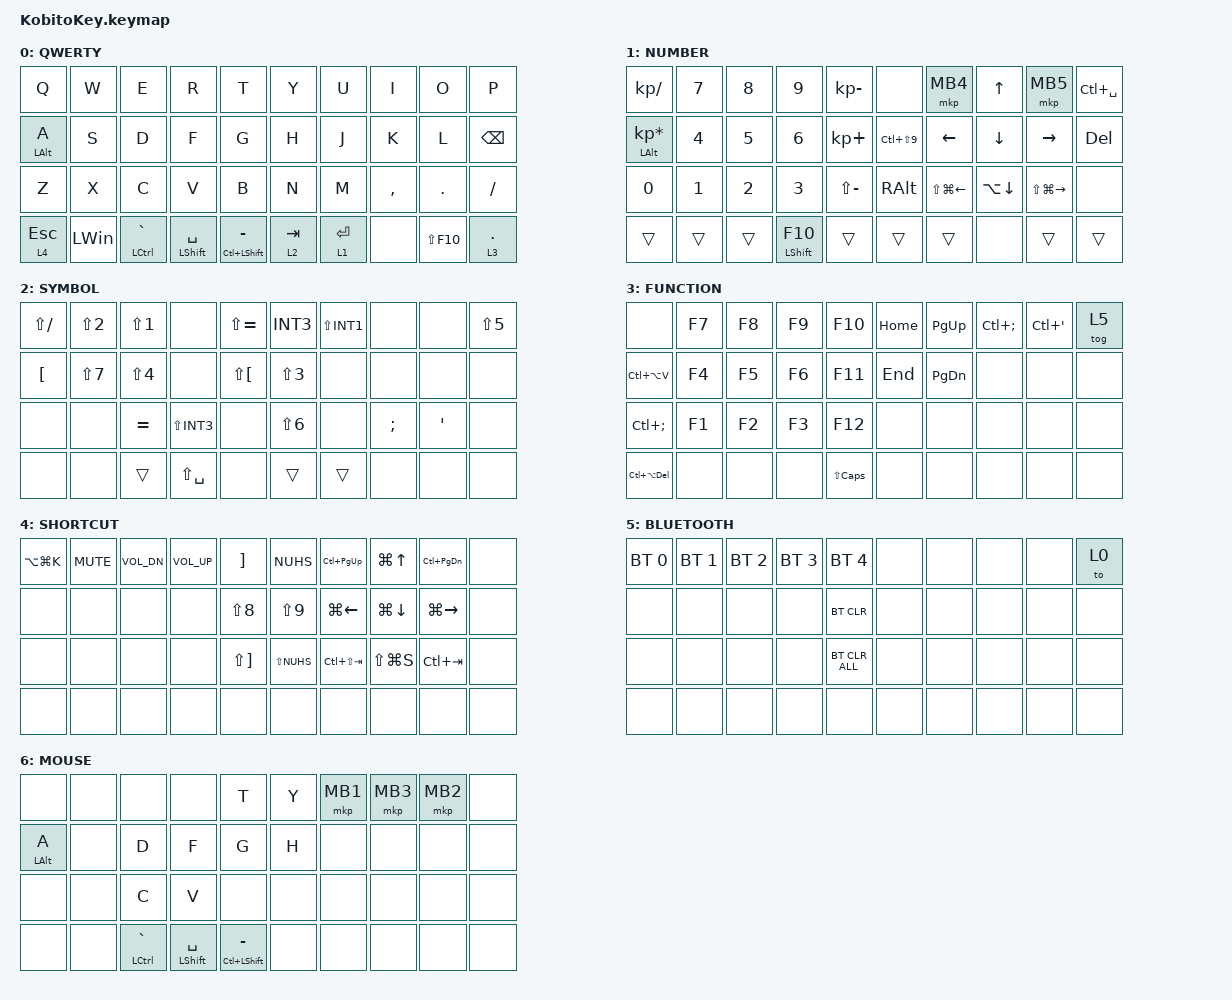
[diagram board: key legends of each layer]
#include <input/processors.dtsi>
#include <behaviors.dtsi>
#include <behaviors/runtime_macro.dtsi>
#include <dt-bindings/zmk/bt.h>
#include <dt-bindings/zmk/keys.h>
#include <dt-bindings/zmk/pointing.h>

&mt {
    flavor = "hold-preferred";
    tapping-term-ms = <220>;
    quick-tap-ms = <120>;
};

&lt {
    flavor = "hold-preferred";
    tapping-term-ms = <220>;
    quick-tap-ms = <120>;
};

/ {
    behaviors {
        alttab: alt_tab {
            compatible = "kobito,alt-tab";
            display-name = "Alt+Tab switcher";
            #binding-cells = <0>;
        };
    };

    // Defaults are seeded into editable runtime macro slots on first boot.
    // On a fresh settings store: my_kakko = slot 0, my_kagi = slot 1.
    runtime_macro_defaults {
        my_kakko {
            compatible = "cormoran,runtime-macro-default";
            macro-name = "my_kakko";
            bindings = <&kp LS(N8)>, <&macro_wait_time 15>, <&kp LS(N9)>;
        };

        my_kagi {
            compatible = "cormoran,runtime-macro-default";
            macro-name = "my_kagi";
            bindings = <&kp RIGHT_BRACKET>, <&macro_wait_time 15>, <&kp NUHS>;
        };
    };

    runtime_combo_defaults {
        compatible = "cormoran,runtime-combo-defaults";

        PASTE_VALUE {
            slot = <0>;
            display-name = "PASTE_VALUE";
            bindings = <&kp LS(LC(V))>;
            key-positions = <22 23>;
            layers = <0>;
            timeout-ms = <80>;
        };

        KAKKO {
            slot = <1>;
            display-name = "KAKKO";
            bindings = <&rmacro 0>;
            key-positions = <14 15>;
            layers = <0>;
            timeout-ms = <80>;
        };

        KAGIKAKKO {
            slot = <2>;
            display-name = "KAGIKAKKO";
            bindings = <&rmacro 1>;
            key-positions = <4 5>;
            layers = <0>;
            timeout-ms = <80>;
        };

        CMB_ALTTAB {
            slot = <3>;
            display-name = "CMB_ALTTAB";
            bindings = <&alttab>;
            key-positions = <12 13>;
            layers = <0>;
            timeout-ms = <80>;
            slow-release;
        };
    };

    keymap {
        compatible = "zmk,keymap";

        default_layer {
            label = "QWERTY";
            bindings = <
&kp Q      &kp W     &kp E     &kp R        &kp T      &kp Y     &kp U        &kp I      &kp O      &kp P
&mt LALT A &kp S     &kp D     &kp F        &kp G      &kp H     &kp J        &kp K      &kp L      &kp BSPC
&kp Z      &kp X     &kp C     &kp V        &kp B      &kp N     &kp M        &kp COMMA  &kp DOT    &kp SLASH
&lt 4 ESC  &kp LWIN  &mt LCTRL GRAVE  &mt LSHIFT SPACE  &mt LC(LSHIFT) MINUS  &lt 2 TAB  &lt 1 ENTER  &none  &kp LS(F10)  &lt 3 DOT
            >;
        };

        layer1 {
            label = "NUMBER";
            bindings = <
&kp KP_SLASH     &kp N7  &kp N8  &kp N9          &kp KP_MINUS   &none           &mkp MB4          &kp UP        &mkp MB5           &kp LC(SPACE)
&mt LALT KP_ASTERISK  &kp N4  &kp N5  &kp N6     &kp KP_PLUS    &kp LC(LS(N9))  &kp LEFT          &kp DOWN      &kp RIGHT          &kp DEL
&kp N0           &kp N1  &kp N2  &kp N3          &kp LS(MINUS)  &kp RALT        &kp LS(LG(LEFT))  &kp LA(DOWN)  &kp LS(LG(RIGHT))  &none
&trans           &trans  &trans  &mt LSHIFT F10  &trans         &trans          &trans            &none         &trans             &trans
            >;
        };

        layer2 {
            label = "SYMBOL";
            bindings = <
&kp LS(SLASH)  &kp LS(N2)  &kp LS(N1)  &none          &kp LS(EQUAL)  &kp INT3    &kp LS(INT1)  &none     &none    &kp LS(N5)
&kp LBKT       &kp LS(N7)  &kp LS(N4)  &none          &kp LS(LBKT)   &kp LS(N3)  &none         &none     &none    &none
&none          &none       &kp EQUAL   &kp LS(INT3)   &none          &kp LS(N6)  &none         &kp SEMI  &kp SQT  &none
&none          &none       &trans      &kp LS(SPACE)  &none          &trans      &trans        &none     &none    &none
            >;
        };

        layer3 {
            label = "FUNCTION";
            bindings = <
&none          &kp F7  &kp F8  &kp F9  &kp F10  &kp HOME  &kp PG_UP  &kp LC(SEMI)  &kp LC(SQT)  &tog 5
&kp LC(LA(V))  &kp F4  &kp F5  &kp F6  &kp F11  &kp END   &kp PG_DN  &none         &none        &none
&kp LC(SEMI)   &kp F1  &kp F2  &kp F3  &kp F12  &none     &none      &none         &none        &none
&kp LC(LA(DEL))  &none  &none  &none   &kp LS(CAPS)  &none  &none    &none         &none        &none
            >;
        };

        layer4 {
            label = "SHORTCUT";
            bindings = <
&kp LA(LG(K))  &kp C_MUTE  &kp C_VOL_DN  &kp C_VOL_UP  &kp RBKT      &kp NUHS      &kp LC(PG_UP)    &kp LG(UP)     &kp LC(PG_DN)  &none
&none          &none       &none         &none         &kp LS(N8)    &kp LS(N9)    &kp LG(LEFT)     &kp LG(DOWN)   &kp LG(RIGHT)  &none
&none          &none       &none         &none         &kp LS(RBKT)  &kp LS(NUHS)  &kp LC(LS(TAB))  &kp LS(LG(S))  &kp LC(TAB)    &none
&none          &none       &none         &none         &none         &none         &none            &none          &none          &none
            >;
        };

        layer5 {
            label = "BLUETOOTH";
            bindings = <
&bt BT_SEL 0  &bt BT_SEL 1  &bt BT_SEL 2  &bt BT_SEL 3  &bt BT_SEL 4    &none  &none  &none  &none  &to 0
&none        &none        &none        &none        &bt BT_CLR      &none  &none  &none  &none  &none
&none        &none        &none        &none        &bt BT_CLR_ALL  &none  &none  &none  &none  &none
&none        &none        &none        &none        &none          &none  &none  &none  &none  &none
            >;
        };

        layer6 {
            label = "MOUSE";
            bindings = <
&none     &none  &none    &none    &kp T  &kp Y  &mkp MB1  &mkp MB3  &mkp MB2  &none
&mt LALT A  &none  &kp D  &kp F    &kp G  &kp H  &none    &none    &none    &none
&none     &none  &kp C    &kp V    &none  &none  &none    &none    &none    &none
&none      &none  &mt LCTRL GRAVE  &mt LSHIFT SPACE  &mt LC(LSHIFT) MINUS  &none  &none  &none  &none  &none
            >;
        };

    };
};
